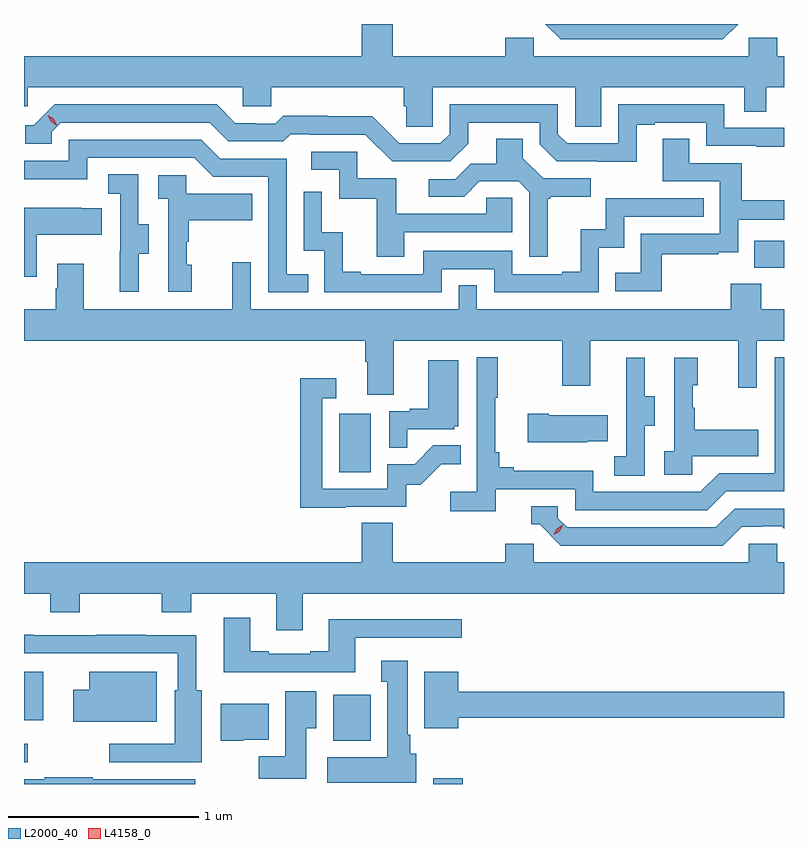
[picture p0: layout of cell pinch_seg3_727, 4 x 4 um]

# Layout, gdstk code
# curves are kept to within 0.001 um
import gdstk
lib = gdstk.Library(unit=1e-6, precision=1e-09)
def R(c, l, rs):  # rectangles x0, y0, x1, y1
    for r in rs: c.add(gdstk.rectangle(r[:2], r[2:], *l))
def P(c, l, *ps):  # polygons
    for p in ps: c.add(gdstk.Polygon(p, *l))
L2000_40 = (2000, 40)
L4158_0 = (4158, 0)

pinch_seg3_727 = lib.new_cell('pinch_seg3_727')
R(pinch_seg3_727, L2000_40, [(868.889,737.21,869.042,737.239), (866.734,737.325,866.755,737.421), (868.361,737.438,868.558,737.68), (866.734,737.546,866.836,737.8), (868.394,738.852,868.558,739.159), (870.577,739.928,870.734,740.068)])
P(pinch_seg3_727, L2000_40, [(868.884,740.876),(869.634,740.876),(869.634,740.668),(869.773,740.668),(869.773,740.876),(870.525,740.876),(870.525,740.749),(870.641,740.749),(870.641,740.876),(870.734,740.876),(870.734,741.04),(870.699,741.04),(870.699,741.138),(870.549,741.138),(870.549,741.04),(869.418,741.04),(869.418,741.138),(869.267,741.138),(869.267,741.04),(868.676,741.04),(868.676,741.21),(868.511,741.21),(868.511,741.04),(866.734,741.04),(866.734,740.778),(866.754,740.778),(866.754,740.876),(867.885,740.876),(867.885,740.778),(868.035,740.778),(868.035,740.876),(868.733,740.876),(868.733,740.778),(868.747,740.778),(868.747,740.668),(868.884,740.668)],
  [(870.493,741.21),(869.478,741.21),(869.559,741.129),(870.412,741.129)],
  [(869.959,740.679),(870.055,740.679),(870.055,740.691),(870.324,740.691),(870.324,740.568),(870.589,740.568),(870.589,740.563),(870.734,740.563),(870.734,740.664),(870.42,740.664),(870.42,740.787),(869.862,740.787),(869.862,740.583),(869.592,740.583),(869.544,740.631),(869.544,740.787),(868.974,740.787),(868.974,740.631),(868.926,740.583),(868.71,740.583),(868.568,740.725),(868.332,740.725),(868.332,740.728),(868.099,740.728),(868.057,740.685),(867.954,740.685),(867.954,740.688),(867.847,740.688),(867.748,740.787),(866.895,740.787),(866.784,740.676),(866.741,740.676),(866.741,740.58),(866.88,740.58),(866.88,740.643),(866.928,740.691),(867.711,740.691),(867.81,740.592),(868.099,740.592),(868.138,740.631),(868.237,740.631),(868.237,740.628),(868.53,740.628),(868.671,740.487),(868.977,740.487),(869.071,740.581),(869.071,740.691),(869.448,740.691),(869.448,740.577),(869.538,740.487),(869.959,740.486)],
  [(870.091,739.998),(870.389,739.998),(870.389,740.009),(870.492,740.009),(870.492,740.181),(870.734,740.181),(870.734,740.282),(870.512,740.282),(870.512,740.478),(870.235,740.478),(870.235,740.606),(870.095,740.606),(870.095,740.382),(870.396,740.382),(870.396,740.106),(869.98,740.106),(869.98,739.9),(869.845,739.9),(869.845,739.803),(870.091,739.803)],
  [(869.491,740.289),(869.503,740.289),(869.503,740.3),(869.716,740.3),(869.716,740.397),(869.466,740.397),(869.359,740.504),(869.359,740.606),(869.219,740.606),(869.219,740.474),(869.084,740.474),(869.004,740.394),(868.863,740.394),(868.863,740.301),(869.05,740.301),(869.131,740.382),(869.337,740.382),(869.394,740.325),(869.394,739.986),(869.491,739.986)],
  [(868.229,739.893),(868.116,739.893),(868.116,740.502),(867.766,740.502),(867.667,740.601),(866.97,740.601),(866.97,740.49),(866.734,740.49),(866.734,740.393),(867.066,740.393),(867.066,740.505),(867.63,740.505),(867.729,740.406),(868.02,740.406),(868.02,739.797),(868.229,739.797)],
  [(868.735,740.115),(869.304,740.115),(869.304,740.295),(869.167,740.295),(869.167,740.211),(868.693,740.211),(868.693,740.397),(868.488,740.397),(868.488,740.538),(868.245,740.538),(868.245,740.442),(868.392,740.442),(868.392,740.289),(868.591,740.289),(868.591,739.986),(868.735,739.986)],
  [(867.337,740.002),(867.391,740.002),(867.391,740.157),(867.336,740.157),(867.336,740.42),(867.177,740.42),(867.177,740.317),(867.24,740.317),(867.24,740.013),(867.239,740.013),(867.239,739.8),(867.337,739.8)],
  [(867.616,739.944),(867.591,739.944),(867.591,740.063),(867.601,740.063),(867.601,740.177),(867.935,740.177),(867.935,740.317),(867.588,740.317),(867.588,740.415),(867.441,740.415),(867.441,740.291),(867.492,740.291),(867.492,739.8),(867.616,739.8)],
  [(868.932,739.92),(869.208,739.92),(869.208,739.797),(869.76,739.797),(869.76,740.033),(869.892,740.033),(869.892,740.196),(870.311,740.196),(870.311,740.292),(869.796,740.292),(869.796,740.131),(869.663,740.131),(869.663,739.906),(869.567,739.906),(869.567,739.893),(869.304,739.893),(869.304,740.016),(868.836,740.016),(868.836,739.893),(868.507,739.893),(868.507,739.906),(868.412,739.906),(868.412,740.114),(868.302,740.114),(868.302,740.326),(868.206,740.326),(868.206,740.016),(868.314,740.016),(868.314,739.797),(868.932,739.797)],
  [(866.8,740.102),(867.143,740.102),(867.143,740.239),(867.035,740.239),(867.035,740.242),(866.734,740.242),(866.734,739.881),(866.8,739.881)],
  [(869.566,739.305),(869.713,739.305),(869.713,739.544),(870.494,739.544),(870.494,739.296),(870.591,739.296),(870.591,739.544),(870.734,739.544),(870.734,739.708),(870.614,739.708),(870.614,739.843),(870.454,739.843),(870.454,739.708),(869.118,739.708),(869.118,739.835),(869.022,739.835),(869.022,739.708),(867.927,739.708),(867.927,739.957),(867.83,739.957),(867.83,739.708),(867.049,739.708),(867.049,739.948),(866.909,739.948),(866.909,739.82),(866.902,739.82),(866.902,739.708),(866.734,739.708),(866.734,739.544),(868.529,739.544),(868.529,739.432),(868.541,739.432),(868.541,739.258),(868.681,739.258),(868.681,739.544),(869.566,739.544)],
  [(869.216,738.762),(869.634,738.762),(869.634,738.651),(870.331,738.651),(870.43,738.75),(870.734,738.75),(870.734,739.455),(870.684,739.455),(870.684,738.846),(870.393,738.846),(870.294,738.747),(869.73,738.747),(869.73,738.859),(869.311,738.859),(869.311,738.878),(869.234,738.878),(869.234,738.955),(869.215,738.955),(869.215,739.243),(869.227,739.243),(869.227,739.456),(869.118,739.456),(869.118,738.748),(868.977,738.748),(868.977,738.646),(869.216,738.646)],
  [(870,739.096),(870.055,739.096),(870.055,739.251),(870.001,739.251),(870.001,739.453),(869.903,739.453),(869.903,739.239),(869.904,739.239),(869.904,738.935),(869.841,738.935),(869.841,738.832),(870,738.832)],
  [(870.252,738.935),(870.599,738.935),(870.599,739.075),(870.265,739.075),(870.265,739.19),(870.255,739.19),(870.255,739.308),(870.28,739.308),(870.28,739.453),(870.156,739.453),(870.156,738.962),(870.105,738.962),(870.105,738.837),(870.252,738.837)],
  [(868.751,739.077),(868.998,739.077),(868.998,739.092),(869.02,739.092),(869.02,739.441),(868.862,739.441),(868.862,739.186),(868.763,739.186),(868.763,739.173),(868.656,739.173),(868.656,738.979),(868.751,738.979)],
  [(868.427,738.669),(868.746,738.669),(868.746,738.786),(868.822,738.786),(868.929,738.893),(869.033,738.893),(869.033,738.992),(868.889,738.992),(868.791,738.894),(868.647,738.894),(868.647,738.765),(868.305,738.765),(868.305,739.239),(868.378,739.239),(868.378,739.345),(868.189,739.345),(868.189,738.664),(868.427,738.664)],
  [(869.699,739.013),(869.807,739.013),(869.807,739.15),(869.497,739.15),(869.497,739.158),(869.385,739.158),(869.385,739.01),(869.699,739.01)],
  [(870.511,738.564),(870.618,738.564),(870.618,738.567),(870.721,738.567),(870.734,738.554),(870.734,738.66),(870.474,738.66),(870.375,738.561),(869.592,738.561),(869.544,738.609),(869.544,738.672),(869.405,738.672),(869.405,738.576),(869.448,738.576),(869.559,738.465),(870.412,738.465)],
  [(870.549,738.474),(870.549,738.376),(869.418,738.376),(869.418,738.474),(869.267,738.474),(869.267,738.376),(868.676,738.376),(868.676,738.584),(868.511,738.584),(868.511,738.376),(866.734,738.376),(866.734,738.212),(866.872,738.212),(866.872,738.113),(867.027,738.113),(867.027,738.212),(867.46,738.212),(867.46,738.113),(867.615,738.113),(867.615,738.212),(868.061,738.212),(868.061,738.018),(868.201,738.018),(868.201,738.212),(870.734,738.212),(870.734,738.376),(870.699,738.376),(870.699,738.474)],
  [(868.013,737.799),(868.477,737.799),(868.477,737.979),(869.038,737.979),(869.038,738.076),(868.337,738.076),(868.337,737.908),(868.241,737.908),(868.241,737.895),(868.021,737.895),(868.021,737.908),(867.925,737.908),(867.925,738.085),(867.785,738.085),(867.785,737.798),(868.013,737.798)],
  [(867.67,737.703),(867.64,737.703),(867.64,737.994),(867.371,737.994),(867.371,737.996),(867.115,737.996),(867.115,737.994),(866.783,737.994),(866.783,737.996),(866.734,737.996),(866.734,737.898),(867.543,737.898),(867.543,737.703),(867.527,737.703),(867.527,737.421),(867.183,737.421),(867.183,737.325),(867.67,737.325)],
  [(868.798,737.37),(868.768,737.37),(868.768,737.47),(868.753,737.47),(868.753,737.86),(868.613,737.86),(868.613,737.747),(868.646,737.747),(868.646,737.35),(868.329,737.35),(868.329,737.216),(868.798,737.216)],
  [(867.433,737.8),(867.077,737.8),(867.077,737.707),(866.993,737.707),(866.993,737.537),(867.433,737.537)],
  [(869.02,737.56),(870.734,737.56),(870.734,737.696),(869.02,737.696),(869.02,737.8),(868.841,737.8),(868.841,737.504),(869.02,737.504)],
  [(868.219,737.504),(868.273,737.504),(868.273,737.698),(868.109,737.698),(868.109,737.356),(867.97,737.356),(867.97,737.238),(868.219,737.238)],
  [(867.888,737.444),(868.021,737.444),(868.021,737.632),(867.77,737.632),(867.77,737.438),(867.888,737.438)],
  [(867.634,737.236),(867.095,737.236),(867.095,737.246),(866.842,737.246),(866.842,737.236),(866.734,737.236),(866.734,737.21),(867.634,737.21)])
P(pinch_seg3_727, L4158_0, [(869.523,738.521),(869.523,738.521),(869.539,738.554),(869.569,738.574),(869.57,738.574),(869.57,738.573),(869.554,738.541),(869.523,738.521)],
  [(866.905,740.678),(866.875,740.698),(866.859,740.731),(866.859,740.731),(866.859,740.731),(866.89,740.711),(866.906,740.679),(866.906,740.678)])

lib.write_gds('pinch_seg3_727.gds')
